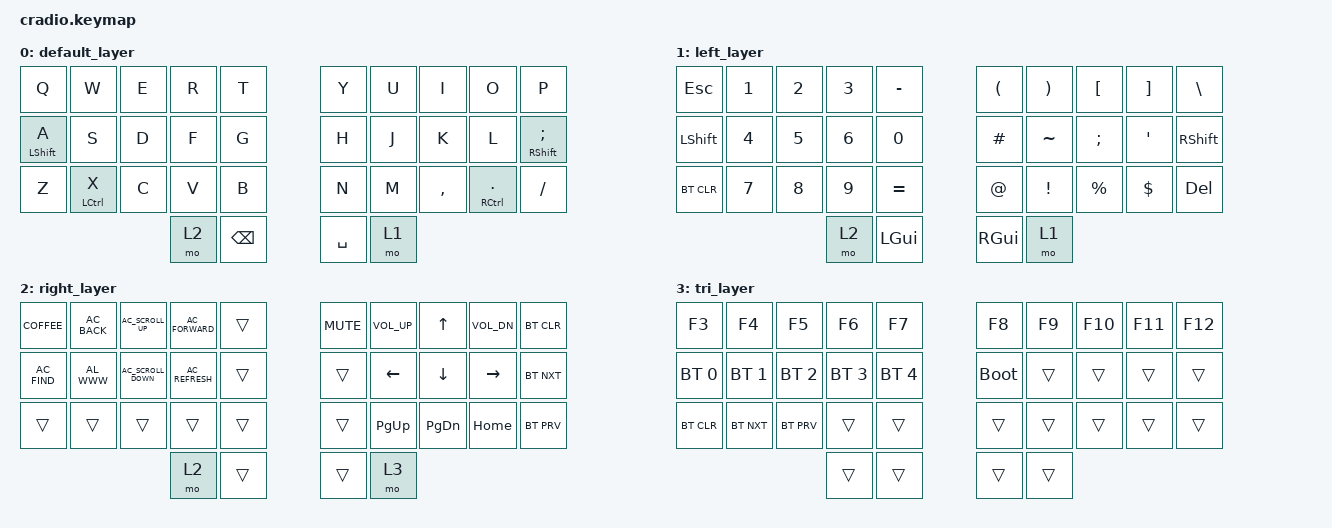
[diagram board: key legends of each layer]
/*
 * Copyright (c) 2020 The ZMK Contributors
 *
 * SPDX-License-Identifier: MIT
 */

#include <behaviors.dtsi>
#include <dt-bindings/zmk/keys.h>
#include <dt-bindings/zmk/bt.h>

&mt {
    //  flavor = "tap-preferred";
    // tapping_term_ms = <200>;
};

/ {
    combos {
        compatible = "zmk,combos";

        combo_esc {
            timeout-ms = <50>;
            key-positions = <0 1>;
            bindings = <&kp ESC>;
        };

        combo_tab {
            timeout-ms = <50>;
            key-positions = <10 11>;
            bindings = <&kp TAB>;
        };

        combo_ralt {
            timeout-ms = <50>;
            key-positions = <17 16>;
            bindings = <&kp RALT>;
        };

        combo_lalt {
            timeout-ms = <50>;
            key-positions = <11 12>;
            bindings = <&kp LALT>;
        };

        combo_lgui {
            timeout-ms = <50>;
            key-positions = <12 13>;
            bindings = <&kp LGUI>;
        };

        combo_rgui {
            timeout-ms = <50>;
            key-positions = <17 18>;
            bindings = <&kp ENTER>;
        };

        new_combo {
            bindings = <&kp CAPS>;
            key-positions = <20 21>;
        };

        new_combo {
            bindings = <&kp DELETE>;
            key-positions = <7 8>;
        };
    };

    keymap {
        compatible = "zmk,keymap";

        default_layer {
            bindings = <
            &kp Q        &kp W   &kp E   &kp R          &kp T      &kp Y   &kp U      &kp I          &kp O                &kp P
 &mt LEFT_SHIFT A        &kp S   &kp D   &kp F          &kp G      &kp H   &kp J      &kp K          &kp L  &mt RSHFT SEMICOLON
            &kp Z  &mt LCTRL X   &kp C   &kp V          &kp B      &kp N   &kp M  &kp COMMA  &mt RCTRL DOT            &kp SLASH
                                         &mo 2  &kp BACKSPACE  &kp SPACE   &mo 1
            >;
        };

        left_layer {
            bindings = <
    &kp ESC  &kp NUMBER_1  &kp NUMBER_2  &kp NUMBER_3  &kp MINUS  &kp LEFT_PARENTHESIS  &kp RIGHT_PARENTHESIS  &kp LEFT_BRACKET  &kp RIGHT_BRACKET  &kp BACKSLASH
 &kp LSHIFT        &kp N4        &kp N5        &kp N6     &kp N0              &kp HASH              &kp TILDE     &kp SEMICOLON   &kp SINGLE_QUOTE     &kp RSHIFT
 &bt BT_CLR  &kp NUMBER_7        &kp N8        &kp N9  &kp EQUAL                &kp AT        &kp EXCLAMATION       &kp PERCENT         &kp DOLLAR        &kp DEL
                                                &mo 2   &kp LGUI              &kp RGUI                  &mo 1
            >;
        };

        right_layer {
            bindings = <
  &kp K_COFFEE  &kp C_AC_BACK    &kp C_AC_SCROLL_UP  &kp C_AC_FORWARD  &trans  &kp C_MUTE  &kp C_VOL_UP         &kp UP  &kp C_VOL_DN  &bt BT_CLR
 &kp C_AC_FIND   &kp C_AL_WWW  &kp C_AC_SCROLL_DOWN  &kp C_AC_REFRESH  &trans      &trans      &kp LEFT       &kp DOWN     &kp RIGHT  &bt BT_NXT
        &trans         &trans                &trans            &trans  &trans      &trans   &kp PAGE_UP  &kp PAGE_DOWN      &kp HOME  &bt BT_PRV
                                                                &mo 2  &trans      &trans         &mo 3
            >;
        };

        tri_layer {
            bindings = <
       &kp F3        &kp F4        &kp F5        &kp F6        &kp F7       &kp F8  &kp F9  &kp F10  &kp F11  &kp F12
 &bt BT_SEL 0  &bt BT_SEL 1  &bt BT_SEL 2  &bt BT_SEL 3  &bt BT_SEL 4  &bootloader  &trans   &trans   &trans   &trans
   &bt BT_CLR    &bt BT_NXT    &bt BT_PRV        &trans        &trans       &trans  &trans   &trans   &trans   &trans
                                                 &trans        &trans       &trans  &trans
            >;
        };
    };
};
